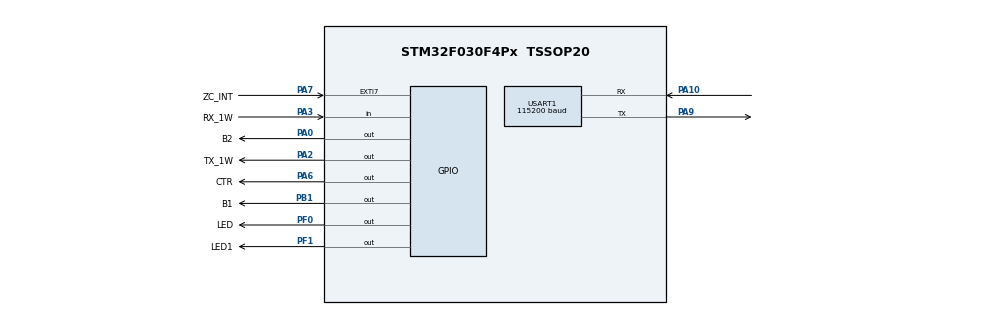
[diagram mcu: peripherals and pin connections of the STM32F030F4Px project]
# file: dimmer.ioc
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Mcu.Family=STM32F0
Mcu.Name=STM32F030F4Px
Mcu.Package=TSSOP20
NVIC.EXTI4_15_IRQn=true\:0\:0\:false\:false\:true\:true\:true\:true
NVIC.TIM17_IRQn=true\:0\:0\:false\:false\:true\:true\:true\:true
PA0.GPIO_Label=B2
PA0.Signal=GPIO_Output
PA10.Mode=Asynchronous
PA10.Signal=USART1_RX
PA13.Mode=Serial_Wire
PA13.Signal=SYS_SWDIO
PA14.Mode=Serial_Wire
PA14.Signal=SYS_SWCLK
PA2.GPIO_Label=TX_1W
PA2.Signal=GPIO_Output
PA3.GPIO_Label=RX_1W
PA3.GPIO_PuPd=GPIO_PULLUP
PA3.Signal=GPIO_Input
PA6.GPIO_Label=CTR
PA6.Signal=GPIO_Output
PA7.GPIO_Label=ZC_INT
PA7.Signal=GPXTI7
PA9.Mode=Asynchronous
PA9.Signal=USART1_TX
PB1.GPIO_Label=B1
PB1.Signal=GPIO_Output
PF0-OSC_IN.GPIO_Label=LED
PF0-OSC_IN.Signal=GPIO_Output
PF1-OSC_OUT.GPIO_Label=LED1
PF1-OSC_OUT.Signal=GPIO_Output
ProjectManager.HeapSize=0x200
ProjectManager.StackSize=0x400
ProjectManager.TargetToolchain=STM32CubeIDE
RCC.AHBFreq_Value=48000000
RCC.APB1Freq_Value=48000000
RCC.APB1TimFreq_Value=48000000
RCC.HCLKFreq_Value=48000000
RCC.PLLMUL=RCC_PLL_MUL12
RCC.SYSCLKFreq_VALUE=48000000
RCC.SYSCLKSource=RCC_SYSCLKSOURCE_PLLCLK
TIM16.AutoReloadPreload=TIM_AUTORELOAD_PRELOAD_DISABLE
TIM16.Period=65535
TIM16.Prescaler=48-1
TIM17.AutoReloadPreload=TIM_AUTORELOAD_PRELOAD_DISABLE
TIM17.Prescaler=48-1
USART1.BaudRate=115200
USART1.VirtualMode-Asynchronous=VM_ASYNC
VP_TIM16_VS_ClockSourceINT.Mode=Enable_Timer
VP_TIM17_VS_ClockSourceINT.Mode=Enable_Timer
board=custom

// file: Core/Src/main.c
/* USER CODE BEGIN Header */
/**
 ******************************************************************************
 * @file           : main.c
 * @brief          : Main program body
 ******************************************************************************
 * @attention
 *
 * Copyright (c) 2023 STMicroelectronics.
 * All rights reserved.
 *
 * This software is licensed under terms that can be found in the LICENSE file
 * in the root directory of this software component.
 * If no LICENSE file comes with this software, it is provided AS-IS.
 *
 ******************************************************************************
 */
/* USER CODE END Header */
#include "main.h"
#include "tim.h"
#include "usart.h"
#include "gpio.h"

/* USER CODE BEGIN PTD */
#define TIME_OUT_DS18B20_Read 1000
//#define TIME_OUT_DIMMER 1000
#define TIME_OUT_DIMMER_PULSE 1

#define PERIOD_US 10000		// 10 ms
#define DELAY_PULSE_US 5000 // 5 ms
#define FAN_0 10000		// 0 %
#define FAN_P1 5000		// 50 %
#define FAN_P2 4000		// 60 %
#define FAN_P3 3000		// 70 %
#define FAN_P4 2000		// 80 %
#define FAN_P5 5		// 100 %

#define FAN_START 7000 // 30 %
#define SETTEMP 30
#define ADDTEMP 15
#define MAXTEMP SETTEMP + ADDTEMP
/* USER CODE END PTD */

/* USER CODE BEGIN PV */
uint8_t flag_pulse_Start = 0;

float Temperature = 0.0;
uint8_t Presence = 0;
uint8_t Temp_byte1, Temp_byte2;
uint8_t one_wire_buff[9] = {0};
uint16_t TEMP;
float setTEMP = SETTEMP;
//float stepTemp = 3.0;
float maxTemp = MAXTEMP;

uint32_t oldTime = 0;
uint32_t time = 0;

uint32_t time_DS18B20 = 0;
uint32_t time_out_DS18B20 = 1;
uint32_t time_DS18B20_Read = 0;
uint8_t event_DS18B20 = 0;

uint32_t time_Dimmer = 0;
//uint32_t time_Dimmer_Pulse = 0;
uint32_t time_out_dimmer = 20; // 20 mS не включается семистор 0 включен постоянно
uint8_t event_dimmer = 0;
uint32_t delay_dimm_us = 11000; // 10000 us = 10 ms
/* USER CODE END PV */

void SystemClock_Config(void);

/* USER CODE BEGIN 0 */
void Set_Pin_Output (GPIO_TypeDef *GPIOx, uint16_t GPIO_Pin)
{
	GPIO_InitTypeDef GPIO_InitStruct = {0};
	GPIO_InitStruct.Pin = GPIO_Pin;
	GPIO_InitStruct.Mode = GPIO_MODE_OUTPUT_PP;
	GPIO_InitStruct.Speed = GPIO_SPEED_FREQ_LOW;
	HAL_GPIO_Init(GPIOx, &GPIO_InitStruct);
}

void Set_Pin_Input (GPIO_TypeDef *GPIOx, uint16_t GPIO_Pin)
{
	GPIO_InitTypeDef GPIO_InitStruct = {0};
	GPIO_InitStruct.Pin = GPIO_Pin;
	GPIO_InitStruct.Mode = GPIO_MODE_INPUT;
	GPIO_InitStruct.Pull = GPIO_PULLUP;
	HAL_GPIO_Init(GPIOx, &GPIO_InitStruct);
}

void delay(uint16_t time) {
	/* change your code here for the delay in microseconds */
	__HAL_TIM_SET_COUNTER(&htim16, 0);
	while ((__HAL_TIM_GET_COUNTER(&htim16)) < time)
		;
}

uint8_t DS18B20_Start (void)
{
	uint8_t Response = 0;
	Set_Pin_Output(TX_1W_GPIO_Port, TX_1W_Pin);   // set the pin as output
	HAL_GPIO_WritePin (TX_1W_GPIO_Port, TX_1W_Pin, 0);  // pull the pin low
	delay (480);   // delay according to datasheet

	Set_Pin_Input(TX_1W_GPIO_Port, TX_1W_Pin);    // set the pin as input
	delay (80);    // delay according to datasheet

	if (!(HAL_GPIO_ReadPin (TX_1W_GPIO_Port, TX_1W_Pin))) Response = 1;    // if the pin is low i.e the presence pulse is detected
	else Response = -1;

	delay (400); // 480 us delay totally.

	return Response;
}

void DS18B20_Write (uint8_t data)
{
	Set_Pin_Output(TX_1W_GPIO_Port, TX_1W_Pin);  // set as output

	for (int i=0; i<8; i++)
	{

		if ((data & (1<<i))!=0)  // if the bit is high
		{
			// write 1

			Set_Pin_Output(TX_1W_GPIO_Port, TX_1W_Pin);  // set as output
			HAL_GPIO_WritePin (TX_1W_GPIO_Port, TX_1W_Pin, 0);  // pull the pin LOW
			delay (1);  // wait for 1 us

			Set_Pin_Input(TX_1W_GPIO_Port, TX_1W_Pin);  // set as input
			delay (50);  // wait for 60 us
		}

		else  // if the bit is low
		{
			// write 0

			Set_Pin_Output(TX_1W_GPIO_Port, TX_1W_Pin);
			HAL_GPIO_WritePin (TX_1W_GPIO_Port, TX_1W_Pin, 0);  // pull the pin LOW
			delay (50);  // wait for 60 us

			Set_Pin_Input(TX_1W_GPIO_Port, TX_1W_Pin);
		}
	}
}

uint8_t DS18B20_Read (void)
{
	uint8_t value=0;

	Set_Pin_Input(TX_1W_GPIO_Port, TX_1W_Pin);

	for (int i=0;i<8;i++)
	{
		Set_Pin_Output(TX_1W_GPIO_Port, TX_1W_Pin);   // set as output

		HAL_GPIO_WritePin (TX_1W_GPIO_Port, TX_1W_Pin, 0);  // pull the data pin LOW
		delay (1);  // wait for > 1us

		Set_Pin_Input(TX_1W_GPIO_Port, TX_1W_Pin);  // set as input
		delay (5);
		if (HAL_GPIO_ReadPin (TX_1W_GPIO_Port, TX_1W_Pin))  // if the pin is HIGH
		{
			value |= 1<<i;  // read = 1
		}
		delay (50);  // wait for 60 us
	}
	return value;
}

uint8_t _crc_ibutton_update(uint8_t crc, uint8_t data)
{
	uint8_t i;

	crc = crc ^ data;
	for (i = 0; i < 8; i++)
	{
		if (crc & 0x01)
			crc = (crc >> 1) ^ 0x8C;
		else
			crc >>= 1;
	}

	return crc;
}

uint8_t one_wire_calc_crc(const void* data, size_t size)
{
	size_t i = 0;
    uint8_t crc = 0;
    for(i = 0; i < size; i ++){
        crc = _crc_ibutton_update(crc, ((const uint8_t*)data)[i]);
    }
    return crc;
}

float map(float x, float in_min, float in_max, float out_min, float out_max)
{
  return (x - in_min) * (out_max - out_min) / (in_max - in_min) + out_min;
}

/* USER CODE END 0 */

int main(void)
{

  /* MCU Configuration--------------------------------------------------------*/

  /* Reset of all peripherals, Initializes the Flash interface and the Systick. */
  HAL_Init();

  /* Configure the system clock */
  SystemClock_Config();

  /* Initialize all configured peripherals */
  MX_GPIO_Init();
  MX_USART1_UART_Init();
  MX_TIM16_Init();
  MX_TIM17_Init();
  /* USER CODE BEGIN 2 */
	oldTime = HAL_GetTick();
	HAL_GPIO_WritePin(CTR_GPIO_Port, CTR_Pin, GPIO_PIN_RESET);
	HAL_TIM_Base_Start(&htim16);
  /* USER CODE END 2 */

  /* Infinite loop */
	while (1) {

    /* USER CODE BEGIN 3 */

		// чтение температуры по таймауту
		if (time_DS18B20_Read >= TIME_OUT_DS18B20_Read) {
			switch (event_DS18B20) {
			case 0:
				Presence = DS18B20_Start();
				time_out_DS18B20 = 1; // установки таймера задержки
				time_DS18B20 = 0;
				event_DS18B20 = 1;
				break;
			case 1:
				if (time_DS18B20 >= time_out_DS18B20) {
					DS18B20_Write(0xCC);  // skip ROM
					DS18B20_Write(0x44);  // convert t
					time_out_DS18B20 = 800; // установки таймера задержки
					time_DS18B20 = 0;
					event_DS18B20 = 2;
				}
				break;
			case 2:
				if (time_DS18B20 >= time_out_DS18B20) {
					Presence = DS18B20_Start();
					time_out_DS18B20 = 1; // установки таймера задержки
					time_DS18B20 = 0;
					event_DS18B20 = 3;
				}
				break;
			case 3:
				if (time_DS18B20 >= time_out_DS18B20) {
					DS18B20_Write(0xCC);  // skip ROM
					DS18B20_Write(0xBE);  // Read Scratch-pad

					//Temp_byte1 = DS18B20_Read();
					//Temp_byte2 = DS18B20_Read();
					for (int var = 0; var < 9; ++var) {
						one_wire_buff[var] = DS18B20_Read();
					}

					if(one_wire_calc_crc(one_wire_buff, sizeof(one_wire_buff)) == 0)
					{
						TEMP = (one_wire_buff[1] << 8) | one_wire_buff[0];
						Temperature = (float) TEMP / 16;
						event_DS18B20 = 4;
					}
					else
					{
						event_DS18B20 = 4;
					}
					time_out_DS18B20 = 0;	// сброс таймера задержки
					time_DS18B20 = 0;
					time_DS18B20_Read = 0; // сброс таймера опроса

				}
				break;
			case 4:
				// если температура долго не меняется включить на максимум

				if(Temperature < setTEMP)
				{
					//Temperature = 0;
					delay_dimm_us = 11000;
				}
				else if(Temperature > maxTemp)
				{
					Temperature = maxTemp;
					delay_dimm_us = 1;
				}else
				{
					// управление симистором
					delay_dimm_us = (uint32_t)map(Temperature, setTEMP, maxTemp, FAN_START, 1);
				}

				event_DS18B20 = 0;
				break;
			default:
				break;
			}
		}

		// расчитать таймер димера в зависимости от температуры

/*
		// управление симистором
		if(Temperature >= setTEMP) // 25
		{
			if(Temperature >= (setTEMP + stepTemp)) //28
			{
				if(Temperature >= (setTEMP + stepTemp * 2)) //31
				{

					if(Temperature >= (setTEMP + stepTemp * 3)) // 34
					{
						if(Temperature >= (setTEMP + stepTemp * 4)) //37
						{
							delay_dimm_us = FAN_P5;
						}
						else // от 34 до 37
						{
							delay_dimm_us = FAN_P4;
						}
					}
					else // от 31 до 34
					{
						delay_dimm_us = FAN_P3;
					}
				}
				else // от 28 до 31
				{
					delay_dimm_us = FAN_P2;
				}
			}
			else // от 25 до 28
			{
				delay_dimm_us = FAN_P1;
			}
		}
		else
		{
			delay_dimm_us = FAN_0;
		}
		*/

		/*if (flag_Dimer_Start) {
			switch (event_dimmer) {
			case 0:
				if (time_Dimmer >= time_out_dimmer) {
					//HAL_GPIO_WritePin(CTR_GPIO_Port, CTR_Pin, GPIO_PIN_SET);
					event_dimmer = 1;
					time_Dimmer = 0;
				}

				break;
			case 1:
				if (time_Dimmer >= TIME_OUT_DIMMER_PULSE) {
					//HAL_GPIO_WritePin(CTR_GPIO_Port, CTR_Pin, GPIO_PIN_RESET);
					event_dimmer = 0;
					time_Dimmer = 0;
					flag_Dimer_Start = 0;
				}
				break;
			default:
				break;
			}
		}
		*/

		if ((HAL_GetTick() - oldTime) > 1) {

			time = (HAL_GetTick() - oldTime);

			time_DS18B20_Read += time;
			time_DS18B20 += time;

			/*if (flag_Dimer_Start) {
				time_Dimmer += time;
			}*/
			time = 0;
			oldTime = HAL_GetTick();
		}
	}
  /* USER CODE END 3 */
}

void SystemClock_Config(void)
{
  LL_FLASH_SetLatency(LL_FLASH_LATENCY_1);
  while(LL_FLASH_GetLatency() != LL_FLASH_LATENCY_1)
  {
  }
  LL_RCC_HSI_Enable();

   /* Wait till HSI is ready */
  while(LL_RCC_HSI_IsReady() != 1)
  {

  }
  LL_RCC_HSI_SetCalibTrimming(16);
  LL_RCC_PLL_ConfigDomain_SYS(LL_RCC_PLLSOURCE_HSI_DIV_2, LL_RCC_PLL_MUL_12);
  LL_RCC_PLL_Enable();

   /* Wait till PLL is ready */
  while(LL_RCC_PLL_IsReady() != 1)
  {

  }
  LL_RCC_SetAHBPrescaler(LL_RCC_SYSCLK_DIV_1);
  LL_RCC_SetAPB1Prescaler(LL_RCC_APB1_DIV_1);
  LL_RCC_SetSysClkSource(LL_RCC_SYS_CLKSOURCE_PLL);

   /* Wait till System clock is ready */
  while(LL_RCC_GetSysClkSource() != LL_RCC_SYS_CLKSOURCE_STATUS_PLL)
  {

  }
  LL_SetSystemCoreClock(48000000);

   /* Update the time base */
  if (HAL_InitTick (TICK_INT_PRIORITY) != HAL_OK)
  {
    Error_Handler();
  }
  LL_RCC_SetUSARTClockSource(LL_RCC_USART1_CLKSOURCE_PCLK1);
}

/* USER CODE BEGIN 4 */
void HAL_GPIO_EXTI_Callback(uint16_t GPIO_Pin) {
	if (GPIO_Pin == ZC_INT_Pin) {
		HAL_GPIO_TogglePin(B2_GPIO_Port, B2_Pin);
		HAL_TIM_Base_Stop_IT(&htim17);
		__HAL_TIM_SET_AUTORELOAD(&htim17, delay_dimm_us);// таймар на открытие симистора
		__HAL_TIM_SET_COUNTER(&htim17, 0);
		HAL_GPIO_WritePin(CTR_GPIO_Port, CTR_Pin, GPIO_PIN_RESET);
		HAL_GPIO_WritePin(B1_GPIO_Port, B1_Pin, GPIO_PIN_RESET);
		flag_pulse_Start = 0;
		HAL_TIM_Base_Start_IT(&htim17); // запуск таймара на открытие симистора
	} else {
		__NOP();
	}
}

//HAL_TIM_OC_Start_IT(&htim17);
void HAL_TIM_PeriodElapsedCallback(TIM_HandleTypeDef *htim)
{
	//HAL_GPIO_TogglePin(B1_GPIO_Port, B1_Pin);

	/*if(flag_pulse_Start) // если импульс запущен то остановим таймер
	{
		flag_pulse_Start = 0;
		HAL_TIM_Base_Stop_IT(&htim17);
		HAL_GPIO_WritePin(CTR_GPIO_Port, CTR_Pin, GPIO_PIN_RESET);
		HAL_GPIO_WritePin(B1_GPIO_Port, B1_Pin, GPIO_PIN_RESET);
		__HAL_TIM_SET_AUTORELOAD(&htim17, 0);
		__HAL_TIM_SET_COUNTER(&htim17, 0);

	}
	else
	{
		HAL_TIM_Base_Stop_IT(&htim17);
		__HAL_TIM_SET_AUTORELOAD(&htim17, DELAY_PULSE_US);// таймар на длинну ипульса
		__HAL_TIM_SET_COUNTER(&htim17, 0);
		HAL_TIM_Base_Start_IT(&htim17); // запуск таймара на длинну ипульса
		HAL_GPIO_WritePin(CTR_GPIO_Port, CTR_Pin, GPIO_PIN_SET);
		HAL_GPIO_WritePin(B1_GPIO_Port, B1_Pin, GPIO_PIN_SET);
		flag_pulse_Start = 1;
	}*/

	if(htim->Instance == htim17.Instance)
	{
		HAL_TIM_Base_Stop_IT(&htim17);
		HAL_GPIO_WritePin(CTR_GPIO_Port, CTR_Pin, GPIO_PIN_SET);
		HAL_GPIO_WritePin(B1_GPIO_Port, B1_Pin, GPIO_PIN_SET);
	}
}
/* USER CODE END 4 */

void Error_Handler(void)
{
	__disable_irq();
	while (1) {
	}
}
